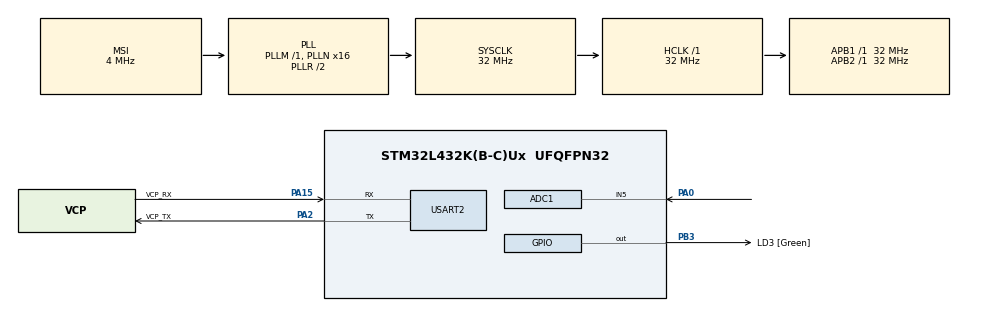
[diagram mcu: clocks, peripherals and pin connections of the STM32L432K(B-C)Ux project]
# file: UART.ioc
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ADC1.Channel-0\#ChannelRegularConversion=ADC_CHANNEL_5
ADC1.NbrOfConversionFlag=1
ADC1.OffsetNumber-0\#ChannelRegularConversion=ADC_OFFSET_NONE
ADC1.Rank-0\#ChannelRegularConversion=1
ADC1.SamplingTime-0\#ChannelRegularConversion=ADC_SAMPLETIME_247CYCLES_5
ADC1.master=1
Mcu.Family=STM32L4
Mcu.Name=STM32L432K(B-C)Ux
Mcu.Package=UFQFPN32
NVIC.PriorityGroup=NVIC_PRIORITYGROUP_4
PA0.Signal=SharedAnalog_PA0
PA13\ (JTMS-SWDIO).GPIO_Label=SWDIO
PA13\ (JTMS-SWDIO).Mode=Serial_Wire
PA13\ (JTMS-SWDIO).Signal=SYS_JTMS-SWDIO
PA14\ (JTCK-SWCLK).GPIO_Label=SWCLK
PA14\ (JTCK-SWCLK).Mode=Serial_Wire
PA14\ (JTCK-SWCLK).Signal=SYS_JTCK-SWCLK
PA15\ (JTDI).GPIO_Label=VCP_RX
PA15\ (JTDI).Mode=Asynchronous
PA15\ (JTDI).Signal=USART2_RX
PA2.GPIO_Label=VCP_TX
PA2.Mode=Asynchronous
PA2.Signal=USART2_TX
PB3\ (JTDO-TRACESWO).GPIO_Label=LD3 [Green]
PB3\ (JTDO-TRACESWO).Signal=GPIO_Output
PC14-OSC32_IN\ (PC14).Signal=RCC_OSC32_IN
PC15-OSC32_OUT\ (PC15).Signal=RCC_OSC32_OUT
ProjectManager.HeapSize=0x200
ProjectManager.StackSize=0x400
ProjectManager.TargetToolchain=STM32CubeIDE
RCC.AHBFreq_Value=32000000
RCC.APB1Freq_Value=32000000
RCC.APB1TimFreq_Value=32000000
RCC.APB2Freq_Value=32000000
RCC.APB2TimFreq_Value=32000000
RCC.CortexFreq_Value=32000000
RCC.HCLKFreq_Value=32000000
RCC.HSE_VALUE=8000000
RCC.HSI16_VALUE=16000000
RCC.HSI48_VALUE=48000000
RCC.HSI_VALUE=16000000
RCC.LSE_VALUE=32768
RCC.MSI_VALUE=4000000
RCC.PLLMUL=RCC_PLLMUL_4
RCC.PLLN=16
RCC.SYSCLKFreq_VALUE=32000000
RCC.SYSCLKSource=RCC_SYSCLKSOURCE_PLLCLK
RCC.VCOOutputFreq_Value=64000000
SH.SharedAnalog_PA0.0=GPIO_Analog
SH.SharedAnalog_PA0.1=ADC1_IN5,IN5-Single-Ended
TIM1.Period=19999
TIM1.Prescaler=63
USART2.VirtualMode-Asynchronous=VM_ASYNC
VP_ADC1_Vref_Input.Mode=IN-Vrefint
VP_TIM1_VS_ClockSourceINT.Mode=Internal
board=NUCLEO-L432KC

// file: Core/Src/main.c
/* USER CODE BEGIN Header */
/**
  ******************************************************************************
  * @file           : main.c
  * @brief          : Main program body
  ******************************************************************************
  * @attention
  *
  * Copyright (c) 2025 STMicroelectronics.
  * All rights reserved.
  *
  * This software is licensed under terms that can be found in the LICENSE file
  * in the root directory of this software component.
  * If no LICENSE file comes with this software, it is provided AS-IS.
  *
  ******************************************************************************
  */
/* USER CODE END Header */
#include "main.h"
#include "adc.h"
#include "tim.h"
#include "usart.h"
#include "gpio.h"

/* USER CODE BEGIN Includes */
#include <string.h>
#include <stdio.h>
#include <stdlib.h>
#include <math.h>  // use the sine function
/* USER CODE END Includes */

/* USER CODE BEGIN PV */
static char linebuf[128];  // send the CSV file to Raspberry Pi
/* USER CODE END PV */

void SystemClock_Config(void);
/* USER CODE BEGIN PFP */
static void send_line_sensor(void);
/* USER CODE END PFP */

/* USER CODE BEGIN 0 */

static uint16_t adc_read_pa0(void)
{
    ADC_ChannelConfTypeDef s = {0};
    s.Channel = ADC_CHANNEL_5;                       // PA0 = IN5
    s.Rank = ADC_REGULAR_RANK_1;
    s.SamplingTime = ADC_SAMPLETIME_247CYCLES_5;      // Change to 247.5
    HAL_ADC_ConfigChannel(&hadc1, &s);

    HAL_ADC_Start(&hadc1);
    HAL_ADC_PollForConversion(&hadc1, 10);    // wait for 10ms
    uint16_t raw = (uint16_t)HAL_ADC_GetValue(&hadc1);  // change 32 bits to 16 bits. Only use 12-bit：0 ~ 4095.
    //uint32_t raw = (uint32_t)HAL_ADC_GetValue(&hadc1);

    HAL_ADC_Stop(&hadc1);
    return raw;                               // raw ∈ [0,4095]
}

// Set the Vref = VDDA = 3.3V
static float raw_to_volt(uint16_t raw)
{
    return 3.3f * ((float)raw / 4095.0f);
}

// 移動平均（10筆抗抖）
static float avg10(float x)
{
    enum { N = 10 };
    static float buf[N];
    static uint8_t idx = 0;
    static uint8_t filled = 0;
    static float acc = 0.0f;

    if (filled < N) {
        buf[idx++] = x;
        acc += x;
        filled++;
        if (idx >= N) idx = 0;
        return acc / (float)filled;
    } else {    // after input first 10 data
        float old = buf[idx];
        buf[idx] = x;
        acc += x - old;
        idx++;
        if (idx >= N) idx = 0;
        return acc / (float)N;
    }
}

// NTU mapping for 2.38V ~ 3.3V  →  0 ~ 100 NTU
#define V_MIN       2.38f
#define V_MAX       3.3f
#define NTU_SLOPE   (100.0f / (V_MAX - V_MIN))
#define NTU_OFFSET  (-NTU_SLOPE * V_MIN)         // When NTU=0, V=V_MIN

static void send_line_sensor(void)
{
    // Read PA0 (ADC1_IN5)
	uint16_t raw = adc_read_pa0();

    float v = raw_to_volt(raw);
    float v_avg = avg10(v);  // smooth
    //v = avg50(v);  // smooth

    // Linearity for 2.38V~3.3V → 0~100 NTU by using v_avg
    float ntu = NTU_SLOPE * v_avg + NTU_OFFSET;
    if (ntu < 0.0f)   ntu = 0.0f;
    if (ntu > 100.0f) ntu = 100.0f;

    uint32_t ts = HAL_GetTick();

//    int n = snprintf(linebuf, sizeof(linebuf),
//                     "%lu,%.2f,%.3f\r\n",
//                     (unsigned long)ts,ntu,v_avg);

    int n = snprintf(linebuf, sizeof(linebuf),
                        "%.2f\r\n",
                        ntu);

    // Send the data by UART
    if (n > 0)
        HAL_UART_Transmit(&huart2, (uint8_t*)linebuf, (uint16_t)n, HAL_MAX_DELAY);
}

/* USER CODE END 0 */

int main(void)
{

  /* MCU Configuration--------------------------------------------------------*/

  /* Reset of all peripherals, Initializes the Flash interface and the Systick. */
  HAL_Init();

  /* Configure the system clock */
  SystemClock_Config();

  /* Initialize all configured peripherals */
  MX_GPIO_Init();
  MX_USART2_UART_Init();
  MX_TIM1_Init();
  MX_ADC1_Init();
  /* USER CODE BEGIN 2 */

  HAL_ADCEx_Calibration_Start(&hadc1, ADC_SINGLE_ENDED);  // calibration once

  const char *header = "ntu\r\n";
  HAL_UART_Transmit(&huart2, (uint8_t*)header, strlen(header), HAL_MAX_DELAY);

  /* USER CODE END 2 */

  /* Infinite loop */
  /* USER CODE BEGIN WHILE */

  while (1)
  {
	  send_line_sensor();      // 每次送一行
	  HAL_Delay(500);          // 500 ms 一筆

    /* USER CODE END WHILE */

  }
}

void SystemClock_Config(void)
{
  RCC_OscInitTypeDef RCC_OscInitStruct = {0};
  RCC_ClkInitTypeDef RCC_ClkInitStruct = {0};

  /** Configure the main internal regulator output voltage
  */
  if (HAL_PWREx_ControlVoltageScaling(PWR_REGULATOR_VOLTAGE_SCALE1) != HAL_OK)
  {
    Error_Handler();
  }

  /** Initializes the RCC Oscillators according to the specified parameters
  * in the RCC_OscInitTypeDef structure.
  */
  RCC_OscInitStruct.OscillatorType = RCC_OSCILLATORTYPE_MSI;
  RCC_OscInitStruct.MSIState = RCC_MSI_ON;
  RCC_OscInitStruct.MSICalibrationValue = 0;
  RCC_OscInitStruct.MSIClockRange = RCC_MSIRANGE_6;
  RCC_OscInitStruct.PLL.PLLState = RCC_PLL_ON;
  RCC_OscInitStruct.PLL.PLLSource = RCC_PLLSOURCE_MSI;
  RCC_OscInitStruct.PLL.PLLM = 1;
  RCC_OscInitStruct.PLL.PLLN = 16;
  RCC_OscInitStruct.PLL.PLLP = RCC_PLLP_DIV7;
  RCC_OscInitStruct.PLL.PLLQ = RCC_PLLQ_DIV2;
  RCC_OscInitStruct.PLL.PLLR = RCC_PLLR_DIV2;
  if (HAL_RCC_OscConfig(&RCC_OscInitStruct) != HAL_OK)
  {
    Error_Handler();
  }

  /** Initializes the CPU, AHB and APB buses clocks
  */
  RCC_ClkInitStruct.ClockType = RCC_CLOCKTYPE_HCLK|RCC_CLOCKTYPE_SYSCLK
                              |RCC_CLOCKTYPE_PCLK1|RCC_CLOCKTYPE_PCLK2;
  RCC_ClkInitStruct.SYSCLKSource = RCC_SYSCLKSOURCE_PLLCLK;
  RCC_ClkInitStruct.AHBCLKDivider = RCC_SYSCLK_DIV1;
  RCC_ClkInitStruct.APB1CLKDivider = RCC_HCLK_DIV1;
  RCC_ClkInitStruct.APB2CLKDivider = RCC_HCLK_DIV1;

  if (HAL_RCC_ClockConfig(&RCC_ClkInitStruct, FLASH_LATENCY_1) != HAL_OK)
  {
    Error_Handler();
  }
}

void Error_Handler(void)
{
  __disable_irq();
  while (1)
  {
  }
}
